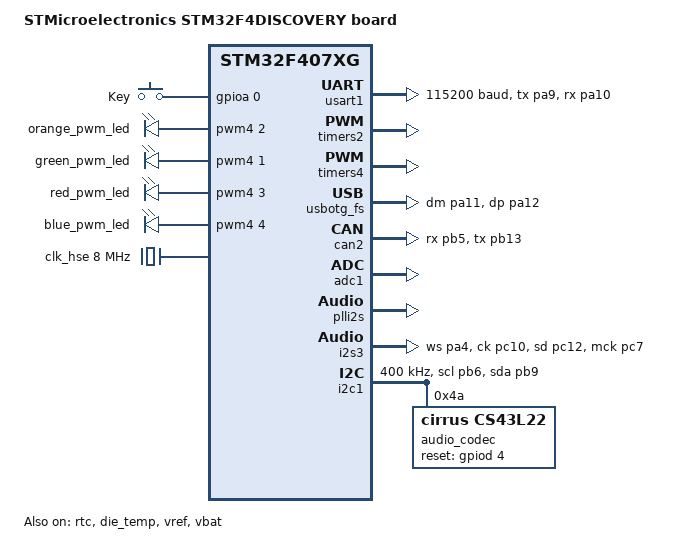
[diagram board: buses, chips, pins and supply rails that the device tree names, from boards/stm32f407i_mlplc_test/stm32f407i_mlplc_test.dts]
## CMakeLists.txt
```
cmake_minimum_required(VERSION 3.31)

# Keep before find zephyr package!
list(APPEND DTS_ROOT ${CMAKE_CURRENT_SOURCE_DIR})
list(APPEND BOARD_ROOT ${CMAKE_CURRENT_SOURCE_DIR})

find_package(Zephyr REQUIRED HINTS $ENV{ZEPHYR_BASE})

project(mlplc)

message(DTS_ROOT=${DTS_ROOT})
message(BOARD_ROOT=${BOARD_ROOT})

aux_source_directory(src MLPLC_SRC)
target_sources(app PRIVATE ${MLPLC_SRC})
target_include_directories(app PUBLIC include)
target_include_directories(app PUBLIC src)
target_include_directories(app PUBLIC magic_enum/include)
```

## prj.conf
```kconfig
CONFIG_STDOUT_CONSOLE=y
CONFIG_LOG=y
# CONFIG_LOG_DEFAULT_LEVEL=3
CONFIG_LOG_MODE_IMMEDIATE=y
CONFIG_GPIO=y
CONFIG_CPP=y
CONFIG_REQUIRES_FULL_LIBCPP=y
CONFIG_STD_CPP2B=y
CONFIG_INIT_STACKS=y
CONFIG_THREAD_STACK_INFO=y
CONFIG_MAX_THREAD_BYTES=6
CONFIG_DYNAMIC_THREAD=y
CONFIG_DYNAMIC_THREAD_ALLOC=y
CONFIG_DYNAMIC_THREAD_PREFER_ALLOC=y
CONFIG_DYNAMIC_OBJECTS=y
CONFIG_CPP_EXCEPTIONS=y
CONFIG_MAIN_STACK_SIZE=8192
CONFIG_HW_STACK_PROTECTION=y
CONFIG_USERSPACE=y
CONFIG_STACK_USAGE=y
CONFIG_THREAD_NAME=y
CONFIG_HEAP_MEM_POOL_SIZE=32768
CONFIG_SYS_HEAP_RUNTIME_STATS=y
CONFIG_SYS_HEAP_ARRAY_SIZE=2
CONFIG_COMMON_LIBC_MALLOC_ARENA_SIZE=16384
```

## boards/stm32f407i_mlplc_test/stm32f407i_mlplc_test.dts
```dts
/*
 * Copyright (c) 2017 Linaro Limited
 *
 * SPDX-License-Identifier: Apache-2.0
 */

/dts-v1/;
#include <st/f4/stm32f407Xg.dtsi>
#include <st/f4/stm32f407v(e-g)tx-pinctrl.dtsi>
#include <zephyr/dt-bindings/input/input-event-codes.h>

/ {
	model = "STMicroelectronics STM32F4DISCOVERY board";
	compatible = "st,stm32f4discovery";

	chosen {
		zephyr,console = &usart1;
		zephyr,shell-uart = &usart1;
		zephyr,sram = &sram0;
		zephyr,flash = &flash0;
		zephyr,ccm = &ccm0;
		zephyr,canbus = &can2;
	};

	mlplc_gpios: mlplc_gpios {
		compatible = "mlplc-gpios";
		gpio0: gpio0 {
			ports = <0>;
			idx = <0>;
			gpios = <&gpiob 4 GPIO_ACTIVE_HIGH>;
			label = "BUTTON";
		};
		gpio1: gpio1 {
			ports = <1>;
			idx = <1>;
			gpios = <&gpiod 13 GPIO_ACTIVE_HIGH>;
			label = "LED_R";
		};
		gpio2: gpio2 {
			ports = <2>;
			idx = <2>;
			gpios = <&gpiod 14 GPIO_ACTIVE_HIGH>;
			label = "LED_G";
		};
		gpio3: gpio3 {
			ports = <3>;
			idx = <3>;
			gpios = <&gpiod 15 GPIO_ACTIVE_HIGH>;
			label = "LED_B";
		};
	};

	gpio_keys {
		compatible = "gpio-keys";
		user_button: button {
			label = "Key";
			gpios = <&gpioa 0 GPIO_ACTIVE_HIGH>;
			zephyr,code = <INPUT_KEY_0>;
		};
	};

	pwmleds: pwmleds {
		compatible = "pwm-leds";

		orange_pwm_led: orange_pwm_led {
			pwms = <&pwm4 2 PWM_USEC(100) PWM_POLARITY_NORMAL>;
		};

		green_pwm_led: green_pwm_led {
			pwms = <&pwm4 1 PWM_USEC(100) PWM_POLARITY_NORMAL>;
		};

		red_pwm_led: red_pwm_led {
			pwms = <&pwm4 3 PWM_USEC(100) PWM_POLARITY_NORMAL>;
		};

		blue_pwm_led: blue_pwm_led {
			pwms = <&pwm4 4 PWM_USEC(100) PWM_POLARITY_NORMAL>;
		};
	};

	aliases {
		// led0 = &green_led_4;
		// led1 = &orange_led_3;
		// led2 = &red_led_5;
		// led3 = &blue_led_6;
		sw0 = &user_button;
		die-temp0 = &die_temp;
		volt-sensor0 = &vref;
		volt-sensor1 = &vbat;
	};
};

&clk_lsi {
	status = "okay";
};

&clk_hse {
	clock-frequency = <DT_FREQ_M(8)>;
	status = "okay";
};

&pll {
	div-m = <8>;
	mul-n = <336>;
	div-p = <2>;
	div-q = <7>;
	clocks = <&clk_hse>;
	status = "okay";
};

&rcc {
	clocks = <&pll>;
	clock-frequency = <DT_FREQ_M(168)>;
	ahb-prescaler = <1>;
	apb1-prescaler = <4>;
	apb2-prescaler = <2>;
};

&usart1 {
	pinctrl-0 = <&usart1_tx_pa9 &usart1_rx_pa10>;
	pinctrl-names = "default";
	current-speed = <115200>;
	status = "okay";
};

&timers2 {
	status = "okay";

	pwm2: pwm {
		status = "okay";
		pinctrl-0 = <&tim2_ch1_pa0>;
		pinctrl-names = "default";
	};
};

&timers4 {
	status = "okay";

	pwm4: pwm {
		status = "okay";
		pinctrl-0 = <&tim4_ch1_pd12 &tim4_ch2_pd13 &tim4_ch3_pd14 &tim4_ch4_pd15>;
		pinctrl-names = "default";
	};
};

&rtc {
	clocks = <&rcc STM32_CLOCK_BUS_APB1 0x10000000>,
		 <&rcc STM32_SRC_LSI RTC_SEL(2)>;
	status = "okay";

	backup_regs {
		status = "okay";
	};
};

zephyr_udc0: &usbotg_fs {
	pinctrl-0 = <&usb_otg_fs_dm_pa11 &usb_otg_fs_dp_pa12>;
	pinctrl-names = "default";
	status = "okay";
};

&can2 {
	pinctrl-0 = <&can2_rx_pb5 &can2_tx_pb13>;
	pinctrl-names = "default";
	status = "okay";
};

&adc1 {
	st,adc-prescaler = <2>;
	status = "okay";
};

&die_temp {
	status = "okay";
};

&vref {
	status = "okay";
};

&vbat {
	status = "okay";
};

&dma1 {
	status = "okay";
};

&plli2s {
	/* Minimize audio clock error (with i2s mck-enabled) for all of:
	 * - 22.05kHz / 16b, 24b or 32b
	 * - 44.1kHz  / 16b, 24b or 32b
	 * - 88.2kHz  / 16b or 24b
	 * Note: because the PLLI2S is dependent on the main PLL, the latter
	 *       should not be changed without checking impact on PLLI2S
	 */
	mul-n = <271>;
	div-r = <2>;
	status = "okay";
};

&i2s3 {
	mck-enabled;
	pinctrl-0 = <&i2s3_ws_pa4 &i2s3_ck_pc10 &i2s3_sd_pc12 &i2s3_mck_pc7>;
	pinctrl-names = "default";
	clocks = <&rcc STM32_CLOCK(APB1, 15U)>,
		 <&rcc STM32_SRC_PLLI2S_R I2S_SEL(0)>;
	status = "okay";
};

&i2c1 {
	clock-frequency = <I2C_BITRATE_FAST>;
	pinctrl-0 = <&i2c1_scl_pb6 &i2c1_sda_pb9>;
	pinctrl-names = "default";
	status = "okay";

	audio_codec: cs43l22@4a {
		compatible = "cirrus,cs43l22";
		reg = <0x4a>;
		reset-gpios = <&gpiod 4 0>;
	};
};
```

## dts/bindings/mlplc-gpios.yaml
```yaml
# Copyright (c) 2023 Libre Solar Technologies GmbH
# SPDX-License-Identifier: Apache-2.0

description: GPIO pin to switch a power output on or off

compatible: "mlplc-gpios"

child-binding:
  description: GPIO LED child node
  properties:
    gpios:
      type: phandle-array
      required: true
      description: |
        The GPIO connected to the gate driver for the MOSFET.
    ports:
      required: true
      type: array
    idx:
      required: true
      type: int
    label:
      required: true
      type: string
      default: ""
```

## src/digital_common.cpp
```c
#include <mlplc/periph/digital_common.hpp>

namespace mlplc {
// namespace periph {



// }
}
```

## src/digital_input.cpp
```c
#include <mlplc/periph/digital_input.hpp>
#include "dtb.hpp"

#include <zephyr/drivers/gpio.h>
#include <zephyr/devicetree/gpio.h>
#include <zephyr/sys/printk.h>

#include <mutex>

namespace mlplc {
namespace periph {

using namespace std::chrono_literals;


DigitalInput::DigitalInput(uint8_t port, InputPull pull, std::chrono::milliseconds debounce_duration) :
    _port(port),
    _pull(pull),
    _debounce_duration(debounce_duration),
    _spec(dtb::borrow_gpio(port))
{
    gpio_flags_t flags = 0;
    if (InputPull::Down == this->_pull) {
        flags = GPIO_PULL_DOWN;
    } else if (InputPull::Up == this->_pull) {
        flags = GPIO_PULL_UP;
    }
    CCALL(gpio_pin_configure(this->_spec->port, this->_spec->pin, GPIO_INPUT | flags));
    this->_prev_level = this->level();
    this->_prev_level_debounced = this->_prev_level;
}

DigitalInput::DigitalInput(
    std::string_view label,
    InputPull pull,
    std::chrono::milliseconds debounce_duration) :
    DigitalInput(dtb::find_gpio_idx_by_label(label), pull, debounce_duration) {}

DigitalInput::~DigitalInput() {
    gpio_pin_configure(this->_spec->port, this->_spec->pin, DEINIT_GPIO_MODE);
}

Level DigitalInput::level() const {
    std::lock_guard<sys::Mutex> lock(this->_mutex);
    return this->_level();
}

Level DigitalInput::_level() const {
    Level const new_level = level_from_num(gpio_pin_get_dt(this->_spec.get()));
    if (new_level != this->_prev_level) {
        this->_tl_level_change = sys::uptime();
        this->_prev_level = new_level;
        this->_is_level_changed = true;
    }
    return new_level;
}

void DigitalInput::wait_level(Level level) const {
    while (this->level() != level) {
        sys::sleep(GPIO_WAIT);
    }
}

std::optional<Level> DigitalInput::is_level_changed() const {
    std::lock_guard<sys::Mutex> lock(this->_mutex);
    Level const new_level = this->_level();
    if (this->_is_level_changed) {
        this->_is_level_changed = false;
        return new_level;
    }

    return std::nullopt;
}

LevelDuration DigitalInput::level_duration() const {
    std::lock_guard<sys::Mutex> lock(this->_mutex);
    return this->_level_duration();
}

LevelDuration DigitalInput::_level_duration() const {
    Level const current_level = this->_level();
    auto const now = sys::uptime();
    return LevelDuration {.duration = now - this->_tl_level_change, .level = current_level};
}

std::optional<Level> DigitalInput::level_debounced() const {
    std::lock_guard<sys::Mutex> lock(this->_mutex);
    return this->_level_debounced();
}

std::optional<Level> DigitalInput::_level_debounced() const {
    auto const level_duration = this->_level_duration();
    if (level_duration.duration >= this->_debounce_duration) {
        if (this->_prev_level_debounced != level_duration.level) {
            this->_prev_level_debounced = level_duration.level;
            this->_is_level_debounced_changed = true;
        }
        return level_duration.level;
    }
    return std::nullopt;
}

void DigitalInput::wait_level_debounced(Level level) const {
    while (this->level_debounced() != level) {
        sys::sleep(GPIO_WAIT);
    }
}

std::optional<Level> DigitalInput::is_level_changed_debounced() const {
    std::lock_guard<sys::Mutex> lock(this->_mutex);
    auto new_level = this->_level_debounced();
    if (new_level && this->_is_level_debounced_changed) {
        this->_is_level_debounced_changed = false;
        return new_level;
    }
    return std::nullopt;
}

void DigitalInput::set_debounce_duration(std::chrono::milliseconds debounce_duration) {
    std::lock_guard<sys::Mutex> lock(this->_mutex);
    this->_debounce_duration = debounce_duration;
}

} // namespace periph
} // namespace mlplc
```

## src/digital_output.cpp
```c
#include <mlplc/periph/digital_output.hpp>
#include "dtb.hpp"

#include <zephyr/drivers/gpio.h>
#include <zephyr/devicetree/gpio.h>

#include <mutex>
#include <unordered_map>
#include <functional>
#include <cstdint>

namespace mlplc {
namespace periph {

using namespace std::chrono_literals;

namespace {

constexpr std::size_t GPIO_HANDLER_STACK_SIZE = 2048;
constexpr int8_t GPIO_HANDLER_PRIO = 1;
constexpr uint32_t GPIO_HANDLER_OPTIONS = K_ESSENTIAL;
constexpr std::chrono::microseconds GPIO_HANDLER_LOCK_TIMEOUT = 100us;

sys::Mutex g_gpio_handlers_mutex;
std::unordered_map<uint8_t, std::function<void(std::chrono::milliseconds)>> g_gpio_handlers;

void gpio_handler(void* arg1, void* arg2, void* arg3) {
    while (1) {
        {
            std::lock_guard<sys::Mutex> lock(g_gpio_handlers_mutex);
            auto const now = sys::uptime();
            for (auto const& [p, f] : g_gpio_handlers) {
                f(now);
            }
        }
        sys::sleep(GPIO_WAIT);
    }
}

K_KERNEL_THREAD_DEFINE(gpio_handler_thread, GPIO_HANDLER_STACK_SIZE, gpio_handler, NULL, NULL, NULL,
    GPIO_HANDLER_PRIO, GPIO_HANDLER_OPTIONS, 0);

} // namespace

DigitalOutput::DigitalOutput(uint8_t port, OutputType type, Level level) :
    _port(port),
    _type(type),
    _desired_level(level),
    _spec(dtb::borrow_gpio(port))
{
    gpio_flags_t flags = 0;
    if (OutputType::PushPull == this->_type) {
        flags = GPIO_PUSH_PULL;
    } else if (OutputType::OpenDrain == this->_type) {
        flags = GPIO_OPEN_DRAIN;
    }

    CCALL(gpio_pin_configure(this->_spec->port, this->_spec->pin, GPIO_OUTPUT | flags));
    CCALL(gpio_pin_set(this->_spec->port, this->_spec->pin, level_to_int(level)));

    std::lock_guard<sys::Mutex> lock(g_gpio_handlers_mutex);
    g_gpio_handlers[port] = std::bind(&DigitalOutput::_handle, this, std::placeholders::_1);
}

DigitalOutput::DigitalOutput(std::string_view label, OutputType type, Level level) :
    DigitalOutput(dtb::find_gpio_idx_by_label(label), type, level) {}

DigitalOutput::~DigitalOutput() {
    std::lock_guard<sys::Mutex> lock(g_gpio_handlers_mutex);
    g_gpio_handlers.erase(this->_port);
    gpio_pin_configure(this->_spec->port, this->_spec->pin, DEINIT_GPIO_MODE);
}

void DigitalOutput::set_level(Level level) {
    std::lock_guard<sys::Mutex> lock(this->_mutex);
    this->_desired_level = level;
    this->_set_level(level);
}

void DigitalOutput::_set_level(Level level) noexcept {
    CCALL_UNTIL(gpio_pin_set(this->_spec->port, this->_spec->pin, level_to_int(level)));
}

void DigitalOutput::pulse_start(std::chrono::milliseconds t_low, std::chrono::milliseconds t_high,
    std::optional<std::size_t> count, Level first_level)
{
    if (!count || *count > 0) {
        std::lock_guard<sys::Mutex> lock(this->_mutex);
        this->_pulse_t_low = t_low;
        this->_pulse_t_high = t_high;
        if (count) {
            this->_pulse_remain = *count;
            this->_is_pulse_continuous = false;
        } else {
            this->_is_pulse_continuous = true;
        }
        this->_pulse_first_level = first_level;
        this->_pulse_state = first_level;
        this->_set_level(first_level);
        this->_tl_pulse_sw = sys::uptime();
    }
}

void DigitalOutput::pulse_stop() {
    std::lock_guard<sys::Mutex> lock(this->_mutex);
    this->_pulse_state = std::nullopt;
    this->_set_level(this->_desired_level);
}

void DigitalOutput::wait_pulse_end() const {
    while (this->is_pulse_run()) {
        sys::sleep(GPIO_WAIT);
    }
}

bool DigitalOutput::is_pulse_run() const {
    std::lock_guard<sys::Mutex> lock(this->_mutex);
    return this->_pulse_state.has_value();
}

void DigitalOutput::_handle(std::chrono::milliseconds now) noexcept {
    if (this->_mutex.try_lock(GPIO_HANDLER_LOCK_TIMEOUT)) {
        if (this->_pulse_state.has_value()) {
            std::chrono::milliseconds duration = this->_pulse_t_low;
            if (Level::High == this->_pulse_state) {
                duration = this->_pulse_t_high;
            }
            bool const is_time_to_sw = (now - this->_tl_pulse_sw) >= duration;
            if (is_time_to_sw) {
                if (!this->_is_pulse_continuous && this->_pulse_state != this->_pulse_first_level) {
                    this->_pulse_remain -= 1;
                }
                if (!this->_is_pulse_continuous && 0 == this->_pulse_remain) {
                    this->_pulse_state = std::nullopt;
                } else {
                    this->_tl_pulse_sw = now;
                    this->_pulse_state = !*this->_pulse_state;
                    this->_set_level(*this->_pulse_state);
                }
            }
        }

        this->_mutex.unlock();
    }
}

}
}
```

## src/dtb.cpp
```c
/** Device Tree Base. Module for manage/borrow devices. @file
 * When device borrowing requested, a some checks occured:
 * 1. Device is not already borrowed;
 * 2. Ports/pins used by requested device is not already in use.
 * 
 * Circumstances:
 * - Many MCU pins may be connected to one port.
 * - Device may use pins, which not connected to any port.
 * - Device may not use any pins.
 * 
 * When device borrowing request:
 * - Check for device is not already used.
 * - Check for all device ports is not already used.
 * - Get raw device from device tree.
 * - Mark requested device as used.
 * - Mark used by device ports as used.
 * 
 * When device dropped:
 * - Mark device as unused.
 * - Mark used by device ports as unused.
 */

#include "dtb.hpp"
#include "macro.hpp"
#include <mlplc/sys/mutex.hpp>

#include <array>
#include <vector>
#include <unordered_map>
#include <mutex>
#include <optional>
#include <cstdint>

template <>
struct std::hash<mlplc::dtb::DeviceId>
{
    std::size_t operator()(mlplc::dtb::DeviceId const& self) const {
        uint64_t const raw = (static_cast<uint8_t>(self.type) << 8) | self.idx;
        return static_cast<std::size_t>(raw);
    }
};

namespace mlplc {
namespace dtb {

bool operator== (DeviceId const& self, DeviceId const& other) {
    return self.idx == other.idx && self.type == other.type;
}

std::ostream& operator<< (std::ostream& os, DeviceId const& dev_id) {
    os << magic_enum::enum_name(dev_id.type) << "_" << static_cast<int>(dev_id.idx);
    return os;
}

namespace {

template <typename T>
struct DtSpec {
    T dt_spec;
    uint8_t idx;
    std::string_view label;
};

std::unordered_map<DeviceId, ports_t> const DEVICE_PORTS_MAP = {
    // TODO:
    {{DeviceType::Gpio, 0}, ports_mask({0})},
};

#define PRINT_GPIO_DT_SPEC(node_id) DtSpec {gpio_dt_spec GPIO_DT_SPEC_GET(node_id, gpios), DT_PROP(node_id, idx), DT_PROP(node_id, label)},

std::array<DtSpec<struct gpio_dt_spec>, GPIO_COUNT> const GPIOS = {
    DT_FOREACH_CHILD_STATUS_OKAY(DT_NODELABEL(mlplc_gpios), PRINT_GPIO_DT_SPEC)
};

static sys::Mutex mutex;
std::unordered_map<DeviceId, bool> device_in_use;

void assert_device_borrowing(DeviceId dev_id) {
    ASSERT(!is_dev_in_use(dev_id), ExceptionType::DeviceAlreadyInUse, dev_id);

    // Check ports overlapping.
    if (DEVICE_PORTS_MAP.contains(dev_id)) {
        // If device exists in device-ports map - this mean that it may use ports.
        auto overlapped_dev = dev_that_ports_overlap_with(DEVICE_PORTS_MAP.at(dev_id));
        ASSERT(!overlapped_dev, ExceptionType::PortAlreadyInUse, *overlapped_dev);
    }
}

void on_dev_drop(DeviceId dev_id) {
    std::lock_guard<sys::Mutex> lock(mutex);
    if (device_in_use.contains(dev_id)) {
        device_in_use[dev_id] = false;
    }
}

template <typename T, std::size_t N>
std::optional<DtSpec<T>> find_dt_spec_by_idx(std::array<DtSpec<T>, N> const& array, uint8_t idx) {
    for (auto const& d : array) {
        if (d.idx == idx) {
            return d;
        }
    }
    return std::nullopt;
}

template <typename T, std::size_t N>
std::optional<uint8_t> find_idx_by_label(std::array<DtSpec<T>, N> const& array, std::string_view label) {
    for (auto const& d : array) {
        if (d.label == label) {
            return d.idx;
        }
    }
    return std::nullopt;
}

}


std::optional<DeviceId> port_owner(uint8_t port) {
    ports_t const port_mask = ports_mask({port});

    return dev_that_ports_overlap_with(port_mask);
}

std::optional<DeviceId> dev_that_ports_overlap_with(ports_t ports_mask) {
    std::lock_guard<sys::Mutex> lock(mutex);
    for (auto const& [dev_id, is_used] : device_in_use) {
        if (is_used) {
            ports_t const dev_ports = DEVICE_PORTS_MAP.at(dev_id);
            if (dev_ports & ports_mask) {
                return dev_id;
            }
        }
    }

    return std::nullopt;
}

std::optional<ports_t> dev_ports_in_use(DeviceId dev_id) {
    std::lock_guard<sys::Mutex> lock(mutex);
    if (device_in_use.contains(dev_id) && device_in_use.at(dev_id)) {
        return DEVICE_PORTS_MAP.at(dev_id);
    }

    return std::nullopt;
}

bool is_dev_in_use(DeviceId dev_id) {
    std::lock_guard<sys::Mutex> lock(mutex);
    return device_in_use.contains(dev_id) && device_in_use.at(dev_id);
}

gpio_spec_t borrow_gpio(uint8_t idx) {
    DeviceId const dev_id = DeviceId{DeviceType::Gpio, idx};
    assert_device_borrowing(dev_id);
    auto result = find_dt_spec_by_idx<struct gpio_dt_spec, GPIO_COUNT>(GPIOS, idx);
    ASSERT(result, ExceptionType::NoDev, "Gpio not found: ", idx);
    return gpio_spec_t(new gpio_dt_spec(result->dt_spec), Deleter<struct gpio_dt_spec>(dev_id, on_dev_drop));
}

uint8_t find_gpio_idx_by_label(std::string_view label) {
    auto const result = find_idx_by_label<struct gpio_dt_spec, GPIO_COUNT>(GPIOS, label);
    ASSERT(result, ExceptionType::NoDev, label);
    return *result;
}

namespace _private {

};

}
}
```

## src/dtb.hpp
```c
#pragma once

#include <mlplc/exception.hpp>

#include <zephyr/kernel.h>
#include <zephyr/drivers/gpio.h>
#include <zephyr/drivers/uart.h>

#include <optional>
#include <string>
#include <cstdint>
#include <expected>
#include <memory>
#include <functional>
#include <unordered_map>
#include <string_view>

namespace mlplc {
namespace dtb {

namespace _private {

};

using ports_t = uint64_t;

constexpr std::size_t GPIO_COUNT = DT_CHILD_NUM_STATUS_OKAY(DT_NODELABEL(mlplc_gpios));

constexpr ports_t ports_mask(std::initializer_list<uint8_t const> ports_list) {
    ports_t ports_mask = 0;

    for (auto p : ports_list) {
        ports_mask |= 1 << p;
    }

    return ports_mask;
}

enum class DeviceType : uint8_t {
    Gpio,
    Serial,
};

struct DeviceId {
    DeviceType type;
    uint8_t idx;
};

template <typename T>
class Deleter {
public:
    Deleter(DeviceId dev_id, std::function<void(DeviceId)> drop_cb) :
        _dev_id(dev_id),
        _drop_cb(drop_cb)
    {}

    ~Deleter() {}

    void operator() ([[maybe_unused]] T const* dt_spec) {
        this->_drop_cb(this->_dev_id);
    }

private:
    DeviceId _dev_id;
    std::function<void(DeviceId)> _drop_cb;
};

using gpio_spec_t = std::unique_ptr<struct gpio_dt_spec const, Deleter<struct gpio_dt_spec>>;


std::optional<DeviceId> port_owner(uint8_t port);

std::optional<DeviceId> dev_that_ports_overlap_with(ports_t ports);

std::optional<ports_t> dev_ports_in_use(DeviceId dev_id);

bool is_dev_in_use(DeviceId dev_id);

gpio_spec_t borrow_gpio(uint8_t idx);
uint8_t find_gpio_idx_by_label(std::string_view label);

} // namespace dtb
} // namespace mlplc
```

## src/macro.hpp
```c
#pragma once

#include <mlplc/exception.hpp>

#ifndef STR
#define XSTR(x) #x
#define STR(x) XSTR(x)
#endif

#define MACRO_POSITION_SHORT    STR(__func__) "(): " STR(__LINE__)

#define CCALL_UNTIL(expr) do {int const _rc = expr; if (0 == _rc) {break;}} while (1)

#define CCALL(expr) do {int const _rc = expr; if (0 != _rc) { \
    throw Exception(std::string_view(MACRO_POSITION_SHORT ": " STR(expr) " failed: "), \
    exception_type_from_c_code(_rc), _rc);}} while (0)

// ASSERT(bool expression, ExceptionType:: ...)
#define ASSERT(expr, ...) do {if (!(expr)) { \
    throw Exception(std::string_view(MACRO_POSITION_SHORT  ": " STR(expr) " failed: "), ## __VA_ARGS__);}} while (0)
```

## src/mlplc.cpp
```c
#include <mlplc/mlplc.hpp>

#include <zephyr/kernel.h>
#include <zephyr/fatal.h>
#include <zephyr/logging/log_ctrl.h>
#include <zephyr/logging/log.h>
#include <zephyr/sys/reboot.h>

#include <iostream>

namespace mlplc {

LOG_MODULE_REGISTER(mlplc);

namespace {

std::function<void(std::string const&, FatalReason)> _on_fatal_error;

constexpr FatalReason fatal_reason_from_int(unsigned int reason) {
    switch (reason) {
    default: return FatalReason::Unknown;
    }
}

extern "C" {
void k_sys_fatal_error_handler(unsigned int	reason, const struct arch_esf *	esf) {
    FatalReason const fatal_reason = fatal_reason_from_int(reason);
    k_tid_t tid = k_current_get();
    LOG_ERR("reason=%u", reason);
    if (tid) {
        char const* const name = k_thread_name_get(tid);
        if (name) {
            _on_fatal_error(std::string(name), fatal_reason);
        } else {
            _on_fatal_error("", fatal_reason);
        }
    } else {
        LOG_ERR("Fail to get crashed thread.");
        _on_fatal_error("", fatal_reason);
    }
    LOG_PANIC();
    sys_reboot(SYS_REBOOT_WARM);
    sys_reboot(SYS_REBOOT_COLD);
}
}

}

void init(std::function<void(std::string const&, FatalReason)> on_fatal_error) {
    _on_fatal_error = on_fatal_error;
}

} // namespace mlplc
```

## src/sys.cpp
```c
#include <mlplc/sys/sys.hpp>
#include <zephyr/sys/printk.h>

namespace mlplc {
namespace sys {

namespace _private {

}

static void print_sys_memory_stats(struct sys_heap *hp)
{
	struct sys_memory_stats stats;

	sys_heap_runtime_stats_get(hp, &stats);

	printk("allocated %zu, free %zu, max allocated %zu\n",
		stats.allocated_bytes, stats.free_bytes,
		stats.max_allocated_bytes);
}

static void print_all_heaps(void)
{
	struct sys_heap **ha;
	size_t i, n;

	n = sys_heap_array_get(&ha);
	printk("There are %zu heaps allocated:\n", n);

	for (i = 0; i < n; i++) {
		printk("\t%zu - address %p ", i, ha[i]);
		print_sys_memory_stats(ha[i]);
	}
}

std::size_t mem_usage() {
    print_all_heaps();
    return 0;
}

}
}
```
